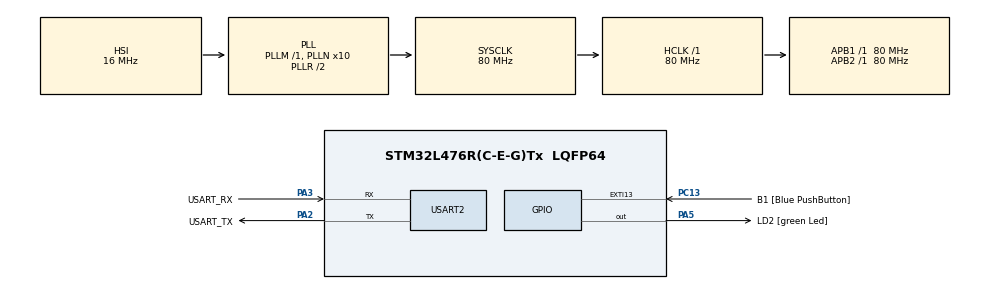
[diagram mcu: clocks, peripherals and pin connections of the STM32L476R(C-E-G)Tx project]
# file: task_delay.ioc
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FREERTOS.Tasks01=defaultTask,0,128,StartDefaultTask,Default,NULL,Dynamic,NULL,NULL
Mcu.Family=STM32L4
Mcu.Name=STM32L476R(C-E-G)Tx
Mcu.Package=LQFP64
NVIC.PriorityGroup=NVIC_PRIORITYGROUP_4
PA13\ (JTMS-SWDIO).GPIO_Label=TMS
PA13\ (JTMS-SWDIO).Mode=Serial_Wire
PA13\ (JTMS-SWDIO).Signal=SYS_JTMS-SWDIO
PA14\ (JTCK-SWCLK).GPIO_Label=TCK
PA14\ (JTCK-SWCLK).Mode=Serial_Wire
PA14\ (JTCK-SWCLK).Signal=SYS_JTCK-SWCLK
PA2.GPIO_Label=USART_TX
PA2.GPIO_Mode=GPIO_MODE_AF_PP
PA2.GPIO_PuPd=GPIO_NOPULL
PA2.GPIO_Speed=GPIO_SPEED_FREQ_VERY_HIGH
PA2.Mode=Asynchronous
PA2.Signal=USART2_TX
PA3.GPIO_Label=USART_RX
PA3.GPIO_Mode=GPIO_MODE_AF_PP
PA3.GPIO_PuPd=GPIO_NOPULL
PA3.GPIO_Speed=GPIO_SPEED_FREQ_VERY_HIGH
PA3.Mode=Asynchronous
PA3.Signal=USART2_RX
PA5.GPIO_Label=LD2 [green Led]
PA5.GPIO_ModeDefaultOutputPP=GPIO_MODE_OUTPUT_PP
PA5.GPIO_PuPd=GPIO_NOPULL
PA5.GPIO_Speed=GPIO_SPEED_FREQ_LOW
PA5.Signal=GPIO_Output
PB3\ (JTDO-TRACESWO).GPIO_Label=SWO
PB3\ (JTDO-TRACESWO).Signal=SYS_JTDO-SWO
PC13.GPIO_Label=B1 [Blue PushButton]
PC13.GPIO_ModeDefaultEXTI=GPIO_MODE_IT_FALLING
PC13.GPIO_PuPd=GPIO_NOPULL
PC13.Signal=GPXTI13
PC14-OSC32_IN\ (PC14).Mode=LSE-External-Oscillator
PC14-OSC32_IN\ (PC14).Signal=RCC_OSC32_IN
PC15-OSC32_OUT\ (PC15).Mode=LSE-External-Oscillator
PC15-OSC32_OUT\ (PC15).Signal=RCC_OSC32_OUT
PH0-OSC_IN\ (PH0).Signal=RCC_OSC_IN
PH1-OSC_OUT\ (PH1).Signal=RCC_OSC_OUT
ProjectManager.HeapSize=0x200
ProjectManager.StackSize=0x400
ProjectManager.TargetToolchain=STM32CubeIDE
RCC.ADCFreq_Value=64000000
RCC.AHBFreq_Value=80000000
RCC.APB1Freq_Value=80000000
RCC.APB1TimFreq_Value=80000000
RCC.APB2Freq_Value=80000000
RCC.APB2TimFreq_Value=80000000
RCC.CortexFreq_Value=80000000
RCC.HCLKFreq_Value=80000000
RCC.HSE_VALUE=8000000
RCC.HSI_VALUE=16000000
RCC.MSI_VALUE=4000000
RCC.PLLN=10
RCC.PLLSourceVirtual=RCC_PLLSOURCE_HSI
RCC.PREFETCH_ENABLE=1
RCC.SYSCLKFreq_VALUE=80000000
RCC.SYSCLKSource=RCC_SYSCLKSOURCE_PLLCLK
RCC.USBFreq_Value=64000000
RCC.VCOOutputFreq_Value=160000000
USART2.VirtualMode-Asynchronous=VM_ASYNC
VP_FREERTOS_VS_CMSIS_V1.Mode=CMSIS_V1
board=NUCLEO-L476RG

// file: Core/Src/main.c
/* USER CODE BEGIN Header */
/**
  ******************************************************************************
  * @file           : main.c
  * @brief          : Main program body
  ******************************************************************************
  * @attention
  *
  * Copyright (c) 2025 STMicroelectronics.
  * All rights reserved.
  *
  * This software is licensed under terms that can be found in the LICENSE file
  * in the root directory of this software component.
  * If no LICENSE file comes with this software, it is provided AS-IS.
  *
  ******************************************************************************
  */
/* USER CODE END Header */
#include "main.h"
#include "cmsis_os.h"

/* USER CODE BEGIN Includes */
#include<stdio.h>
#include<string.h>
/* USER CODE END Includes */

UART_HandleTypeDef huart2;

osThreadId defaultTaskHandle;
/* USER CODE BEGIN PV */
TaskHandle_t handle1=NULL;  // handle for task 1
TaskHandle_t handle2=NULL;  //handle for task 2
/* USER CODE END PV */

void SystemClock_Config(void);
static void MX_GPIO_Init(void);
static void MX_USART2_UART_Init(void);
void StartDefaultTask(void const * argument);

/* USER CODE BEGIN 0 */
// Function to send a string via UART2
void uart_send(char *s)
{
	HAL_UART_Transmit(&huart2, (uint8_t *)s, strlen(s), 1000);
}
// Task1: Print task message and LED status
void task1_handler(void * p)
{
    char msg[50]; // buffer to store message
    while(1)
    {
        // Print the task message
        sprintf(msg,"%s\r\n",(char*)p);
        uart_send(msg);

        // Print the current LED status (ON/OFF)
        sprintf(msg,"LED status %d\r\n",HAL_GPIO_ReadPin(GPIOA, GPIO_PIN_5));
        uart_send(msg);

        // Delay for 1 second
        vTaskDelay(pdMS_TO_TICKS(1000));
    }
}

// Task2: Print task message and toggle LED
void task2_handler(void *p)
{
    char msg[50]; // buffer to store message
    while(1)
    {
        // Print the task message
        sprintf(msg,"%s\r\n",(char *)p);
        uart_send(msg);

        // Toggle the LED (if ON -> OFF, if OFF -> ON)
        HAL_GPIO_TogglePin(GPIOA, GPIO_PIN_5);

        // Delay for 1 second
        vTaskDelay(pdMS_TO_TICKS(1000));
    }
}
/* USER CODE END 0 */

int main(void)
{

  /* MCU Configuration--------------------------------------------------------*/

  /* Reset of all peripherals, Initializes the Flash interface and the Systick. */
  HAL_Init();

  /* Configure the system clock */
  SystemClock_Config();

  /* Initialize all configured peripherals */
  MX_GPIO_Init();
  MX_USART2_UART_Init();

  /* Create the thread(s) */
  /* definition and creation of defaultTask */
  osThreadDef(defaultTask, StartDefaultTask, osPriorityNormal, 0, 128);
  defaultTaskHandle = osThreadCreate(osThread(defaultTask), NULL);

  /* USER CODE BEGIN RTOS_THREADS */
  xTaskCreate(task1_handler, "task-1", configMINIMAL_STACK_SIZE, "TASK-1",1,&handle1);//task1 creation
  xTaskCreate(task2_handler, "task-2", configMINIMAL_STACK_SIZE, "TASK-2",1,&handle2);//task 2 creation

  /* USER CODE END RTOS_THREADS */

  /* Start scheduler */
  osKernelStart();

  /* We should never get here as control is now taken by the scheduler */

  /* Infinite loop */
  while (1)
  {

  }
}

void SystemClock_Config(void)
{
  RCC_OscInitTypeDef RCC_OscInitStruct = {0};
  RCC_ClkInitTypeDef RCC_ClkInitStruct = {0};

  /** Configure the main internal regulator output voltage
  */
  if (HAL_PWREx_ControlVoltageScaling(PWR_REGULATOR_VOLTAGE_SCALE1) != HAL_OK)
  {
    Error_Handler();
  }

  /** Initializes the RCC Oscillators according to the specified parameters
  * in the RCC_OscInitTypeDef structure.
  */
  RCC_OscInitStruct.OscillatorType = RCC_OSCILLATORTYPE_HSI;
  RCC_OscInitStruct.HSIState = RCC_HSI_ON;
  RCC_OscInitStruct.HSICalibrationValue = RCC_HSICALIBRATION_DEFAULT;
  RCC_OscInitStruct.PLL.PLLState = RCC_PLL_ON;
  RCC_OscInitStruct.PLL.PLLSource = RCC_PLLSOURCE_HSI;
  RCC_OscInitStruct.PLL.PLLM = 1;
  RCC_OscInitStruct.PLL.PLLN = 10;
  RCC_OscInitStruct.PLL.PLLP = RCC_PLLP_DIV7;
  RCC_OscInitStruct.PLL.PLLQ = RCC_PLLQ_DIV2;
  RCC_OscInitStruct.PLL.PLLR = RCC_PLLR_DIV2;
  if (HAL_RCC_OscConfig(&RCC_OscInitStruct) != HAL_OK)
  {
    Error_Handler();
  }

  /** Initializes the CPU, AHB and APB buses clocks
  */
  RCC_ClkInitStruct.ClockType = RCC_CLOCKTYPE_HCLK|RCC_CLOCKTYPE_SYSCLK
                              |RCC_CLOCKTYPE_PCLK1|RCC_CLOCKTYPE_PCLK2;
  RCC_ClkInitStruct.SYSCLKSource = RCC_SYSCLKSOURCE_PLLCLK;
  RCC_ClkInitStruct.AHBCLKDivider = RCC_SYSCLK_DIV1;
  RCC_ClkInitStruct.APB1CLKDivider = RCC_HCLK_DIV1;
  RCC_ClkInitStruct.APB2CLKDivider = RCC_HCLK_DIV1;

  if (HAL_RCC_ClockConfig(&RCC_ClkInitStruct, FLASH_LATENCY_4) != HAL_OK)
  {
    Error_Handler();
  }
}

static void MX_USART2_UART_Init(void)
{

  huart2.Instance = USART2;
  huart2.Init.BaudRate = 115200;
  huart2.Init.WordLength = UART_WORDLENGTH_8B;
  huart2.Init.StopBits = UART_STOPBITS_1;
  huart2.Init.Parity = UART_PARITY_NONE;
  huart2.Init.Mode = UART_MODE_TX_RX;
  huart2.Init.HwFlowCtl = UART_HWCONTROL_NONE;
  huart2.Init.OverSampling = UART_OVERSAMPLING_16;
  huart2.Init.OneBitSampling = UART_ONE_BIT_SAMPLE_DISABLE;
  huart2.AdvancedInit.AdvFeatureInit = UART_ADVFEATURE_NO_INIT;
  if (HAL_UART_Init(&huart2) != HAL_OK)
  {
    Error_Handler();
  }

}

static void MX_GPIO_Init(void)
{
  GPIO_InitTypeDef GPIO_InitStruct = {0};

  /* GPIO Ports Clock Enable */
  __HAL_RCC_GPIOC_CLK_ENABLE();
  __HAL_RCC_GPIOH_CLK_ENABLE();
  __HAL_RCC_GPIOA_CLK_ENABLE();
  __HAL_RCC_GPIOB_CLK_ENABLE();

  /*Configure GPIO pin Output Level */
  HAL_GPIO_WritePin(LD2_GPIO_Port, LD2_Pin, GPIO_PIN_RESET);

  /*Configure GPIO pin : B1_Pin */
  GPIO_InitStruct.Pin = B1_Pin;
  GPIO_InitStruct.Mode = GPIO_MODE_IT_FALLING;
  GPIO_InitStruct.Pull = GPIO_NOPULL;
  HAL_GPIO_Init(B1_GPIO_Port, &GPIO_InitStruct);

  /*Configure GPIO pin : LD2_Pin */
  GPIO_InitStruct.Pin = LD2_Pin;
  GPIO_InitStruct.Mode = GPIO_MODE_OUTPUT_PP;
  GPIO_InitStruct.Pull = GPIO_NOPULL;
  GPIO_InitStruct.Speed = GPIO_SPEED_FREQ_LOW;
  HAL_GPIO_Init(LD2_GPIO_Port, &GPIO_InitStruct);

}

void StartDefaultTask(void const * argument)
{
  for(;;)
  {
    osDelay(1);
  }
}

void Error_Handler(void)
{
  __disable_irq();
  while (1)
  {
  }
}
